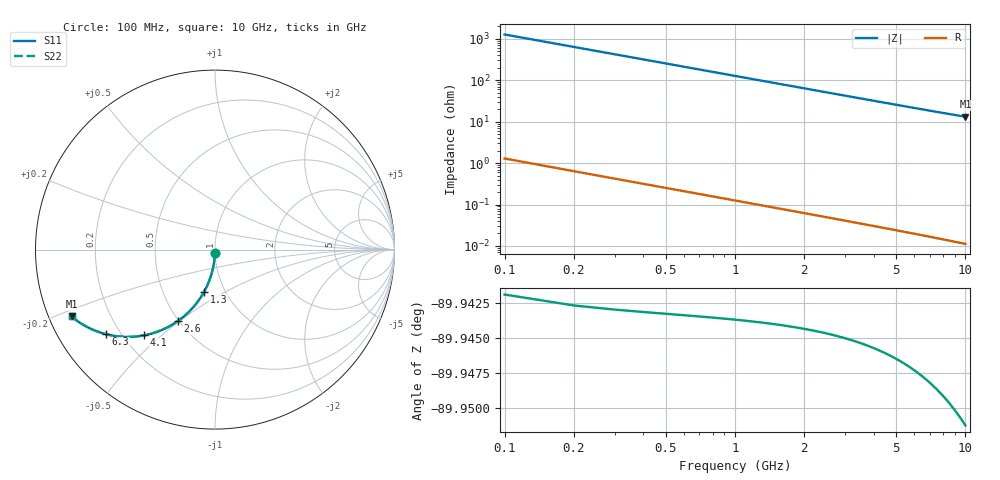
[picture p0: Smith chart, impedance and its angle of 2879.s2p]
# Hz S RI R 50.00
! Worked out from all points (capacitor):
!   100 points, 100 MHz to 10 GHz, reference 50 ohm
!   read as one part in shunt: C = 1.25 pF near 100 MHz
!   lowest |Z| = 13.2 ohm at 10 GHz (marker M1)
!   S11 on the Smith chart (normalised r, x): 100 MHz: 1.00, -0.04; 1.3 GHz: 0.80, -0.40; 2.6 GHz: 0.49, -0.49; 4.1 GHz: 0.28, -0.44; 6.3 GHz: 0.15, -0.34; 10 GHz: 0.07, -0.22
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1e8  -0.000338 -0.0194  0.9995 -0.0199  0.9995 -0.0199  -0.000338 -0.0194
2e8  -0.00151 -0.0387  0.9984 -0.0397  0.9984 -0.0397  -0.00151 -0.0387
3e8  -0.00345 -0.0579  0.9964 -0.0595  0.9964 -0.0595  -0.00345 -0.0579
4e8  -0.00614 -0.077  0.9937 -0.0791  0.9937 -0.0791  -0.00614 -0.077
5e8  -0.00957 -0.0959  0.9903 -0.0985  0.9903 -0.0985  -0.00957 -0.0959
6e8  -0.0137 -0.1146  0.9861 -0.1177  0.9861 -0.1177  -0.0137 -0.1146
7e8  -0.0186 -0.1331  0.9813 -0.1367  0.9813 -0.1367  -0.0186 -0.1331
8e8  -0.0242 -0.1512  0.9757 -0.1553  0.9757 -0.1553  -0.0242 -0.1512
1e9  -0.0372 -0.1865  0.9626 -0.1916  0.9626 -0.1916  -0.0372 -0.1865
1.3e9  -0.0614 -0.2363  0.9385 -0.2429  0.9385 -0.2429  -0.0614 -0.2363
1.5e9  -0.0801 -0.2672  0.9198 -0.2748  0.9198 -0.2748  -0.0801 -0.2672
1.8e9  -0.1114 -0.3096  0.8885 -0.3188  0.8885 -0.3188  -0.1114 -0.3096
2.2e9  -0.1577 -0.3585  0.8421 -0.3697  0.8421 -0.3697  -0.1577 -0.3585
2.6e9  -0.2074 -0.3984  0.7923 -0.4117  0.7923 -0.4117  -0.2074 -0.3984
3.4e9  -0.3095 -0.4531  0.6902 -0.4706  0.6902 -0.4706  -0.3095 -0.4531
4.1e9  -0.395 -0.4778  0.6046 -0.499  0.6046 -0.499  -0.395 -0.4778
5.1e9  -0.5034 -0.4862  0.4961 -0.5127  0.4961 -0.5127  -0.5034 -0.4862
6.3e9  -0.6084 -0.4711  0.3909 -0.504  0.3909 -0.504  -0.6084 -0.4711
6.7e9  -0.6377 -0.4625  0.3616 -0.4976  0.3616 -0.4976  -0.6377 -0.4625
7.5e9  -0.6887 -0.4425  0.3103 -0.482  0.3103 -0.482  -0.6887 -0.4425
8.4e9  -0.736 -0.4177  0.2629 -0.4622  0.2629 -0.4622  -0.736 -0.4177
1e10  -0.7993 -0.3726  0.1991 -0.4261  0.1991 -0.4261  -0.7993 -0.3726
